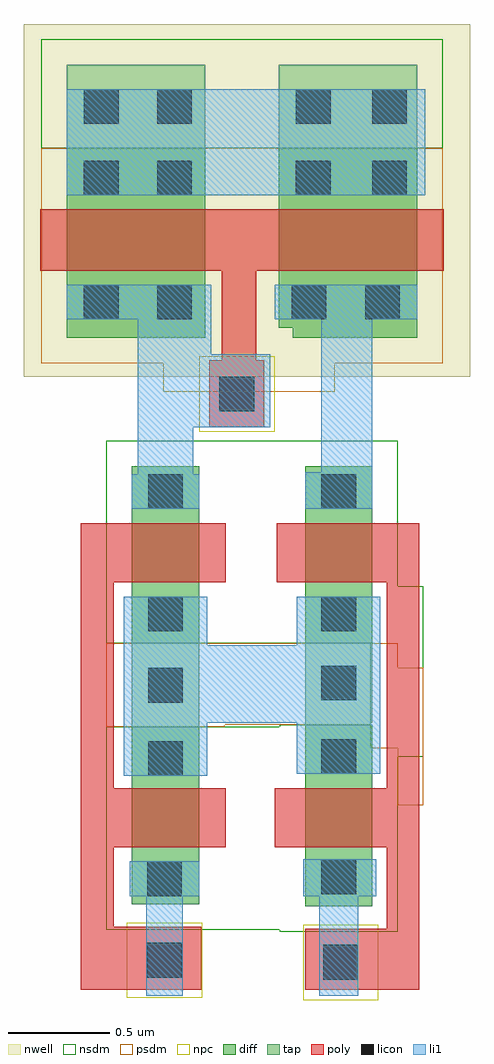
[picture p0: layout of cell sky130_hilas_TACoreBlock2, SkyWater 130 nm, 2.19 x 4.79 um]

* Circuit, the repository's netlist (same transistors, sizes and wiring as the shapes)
* Copyright 2020 The Hilas PDK Authors
* 
* This file is part of HILAS.
* 
* HILAS is free software: you can redistribute it and/or modify
* it under the terms of the GNU Lesser General Public License as published by
* the Free Software Foundation, version 3 of the License.
* 
* HILAS is distributed in the hope that it will be useful,
* but WITHOUT ANY WARRANTY; without even the implied warranty of
* MERCHANTABILITY or FITNESS FOR A PARTICULAR PURPOSE.  See the
* GNU Lesser General Public License for more details.
* 
* You should have received a copy of the GNU Lesser General Public License
* along with HILAS.  If not, see <https://www.gnu.org/licenses/>.
* 
* Licensed under the Lesser General Public License, Version 3.0 (the "License");
* you may not use this file except in compliance with the License.
* You may obtain a copy of the License at
* 
* https://www.gnu.org/licenses/lgpl-3.0.en.html
* 
* Unless required by applicable law or agreed to in writing, software
* distributed under the License is distributed on an "AS IS" BASIS,
* WITHOUT WARRANTIES OR CONDITIONS OF ANY KIND, either express or implied.
* See the License for the specific language governing permissions and
* limitations under the License.
* 
* SPDX-License-Identifier: LGPL-3.0
* 
* 

* NGSPICE file created from sky130_hilas_TACoreBlock2.ext - technology: sky130A


* Top level circuit sky130_hilas_TACoreBlock2

X0 w_n122_224# a_n106_328# a_n106_328# w_n122_224# sky130_fd_pr__pfet_01v8 w=680000u l=300000u
X1 a_n16_n180# a_n66_n378# a_n66_n378# a_n16_n180# sky130_fd_pr__nfet_01v8 w=330000u l=290000u
X2 a_n106_328# a_n66_n378# a_n16_n180# a_n16_n180# sky130_fd_pr__nfet_01v8 w=330000u l=290000u
X3 a_128_272# a_124_n238# a_n16_n180# a_n16_n180# sky130_fd_pr__nfet_01v8 w=330000u l=290000u
X4 w_n122_224# a_n106_328# a_128_272# w_n122_224# sky130_fd_pr__pfet_01v8 w=680000u l=300000u
X5 a_n16_n180# a_124_n238# a_124_n238# a_n16_n180# sky130_fd_pr__nfet_01v8 w=330000u l=290000u
.end

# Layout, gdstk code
import gdstk
lib = gdstk.Library(unit=1e-6, precision=1e-09)
def R(c, l, rs):  # rectangles x0, y0, x1, y1
    for r in rs: c.add(gdstk.rectangle(r[:2], r[2:], *l))
nwell = (64, 20)
diff = (65, 20)
tap = (65, 44)
poly = (66, 20)
licon = (66, 44)
li1 = (67, 20)
nsdm = (93, 44)
psdm = (94, 20)
npc = (95, 20)

sky130_hilas_tacoreblock = lib.new_cell('sky130_hilas_TACoreBlock2')
R(sky130_hilas_tacoreblock, nwell, [(0,3.04,2.19,4.77)])
R(sky130_hilas_tacoreblock, diff, [(1.38,0.44,1.71,1.33), (0.53,0.45,0.86,1.32), (0.53,1.73,0.86,2.6), (1.38,1.73,1.71,2.6), (0.21,3.23,0.89,4.16), (1.32,3.23,1.93,3.28), (1.25,3.28,1.93,4.16)])
R(sky130_hilas_tacoreblock, tap, [(0.53,1.32,0.86,1.73), (1.38,1.33,1.7,1.34), (1.38,1.34,1.71,1.73), (0.21,4.16,0.89,4.57), (1.25,4.16,1.93,4.57)])
R(sky130_hilas_tacoreblock, poly, [(0.28,0.03,0.87,0.34), (1.38,0.03,1.94,0.33), (1.78,0.33,1.94,0.73), (0.28,0.34,0.44,0.73), (0.28,0.73,0.99,1.02), (1.23,0.73,1.94,1.02), (0.28,1.02,0.44,2.03), (1.78,1.02,1.94,2.03), (0.28,2.03,0.99,2.32), (1.24,2.03,1.94,2.32), (0.91,2.79,1.18,3.12), (0.97,3.12,1.14,3.56), (0.08,3.56,2.06,3.86)])
R(sky130_hilas_tacoreblock, licon, [(1.47,0.08,1.64,0.25), (0.605,0.09,0.775,0.26), (0.605,0.49,0.775,0.66), (1.46,0.5,1.63,0.67), (0.61,1.08,0.78,1.25), (1.46,1.09,1.63,1.26), (0.61,1.44,0.78,1.61), (1.46,1.45,1.63,1.62), (0.61,1.79,0.78,1.96), (1.46,1.79,1.63,1.96), (0.61,2.39,0.78,2.56), (1.46,2.39,1.63,2.56), (0.96,2.87,1.13,3.04), (0.295,3.32,0.465,3.49), (0.655,3.32,0.825,3.49), (1.315,3.32,1.485,3.49), (1.675,3.32,1.845,3.49), (0.295,3.93,0.465,4.1), (0.655,3.93,0.825,4.1), (1.335,3.93,1.505,4.1), (1.71,3.93,1.88,4.1), (0.295,4.28,0.465,4.45), (0.655,4.28,0.825,4.45), (1.335,4.28,1.505,4.45), (1.71,4.28,1.88,4.45)])
R(sky130_hilas_tacoreblock, li1, [(0.6,0,0.78,0.49), (1.45,0,1.64,0.49), (0.52,0.49,0.86,0.66), (1.37,0.49,1.73,0.67), (0.49,1.08,0.9,1.34), (1.34,1.09,1.75,1.34), (0.49,1.34,1.75,1.72), (0.49,1.72,0.9,1.96), (1.34,1.72,1.75,1.96), (0.53,2.39,0.86,2.56), (1.38,2.39,1.71,2.57), (0.56,2.56,0.83,2.79), (1.46,2.57,1.71,3.32), (0.56,2.79,1.21,3.15), (0.56,3.15,0.92,3.32), (0.21,3.32,0.92,3.49), (1.23,3.32,1.93,3.49), (0.21,3.93,1.97,4.45)])
R(sky130_hilas_tacoreblock, nsdm, [(1.255,0.315,1.835,0.325), (0.405,0.325,1.835,1.175), (0.405,1.175,1.96,1.32), (1.255,1.32,1.96,1.33), (1.7,1.33,1.96,1.73), (0.405,1.73,1.96,2.01), (0.405,2.01,1.835,2.725), (0.085,4.16,2.055,4.695)])
R(sky130_hilas_tacoreblock, psdm, [(1.835,0.935,1.96,1.215), (1.7,1.215,1.96,1.33), (0.405,1.32,0.985,1.33), (0.405,1.33,1.96,1.61), (0.405,1.61,1.835,1.73), (0.685,2.965,1.525,3.105), (0.085,3.105,2.055,4.16)])
R(sky130_hilas_tacoreblock, npc, [(1.37,-0.02,1.74,0.35), (0.505,-0.01,0.875,0.36), (0.86,2.77,1.23,3.14)])

lib.write_gds('sky130_hilas_TACoreBlock2.gds')
